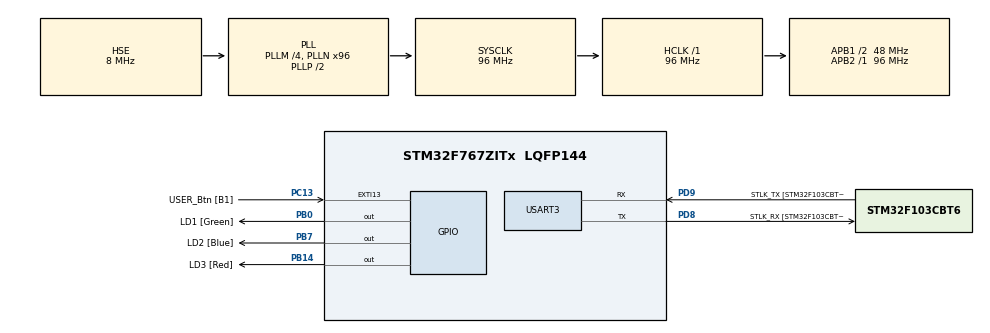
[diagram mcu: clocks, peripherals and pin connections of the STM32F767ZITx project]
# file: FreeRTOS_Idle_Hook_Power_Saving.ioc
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Mcu.Family=STM32F7
Mcu.Name=STM32F767ZITx
Mcu.Package=LQFP144
NVIC.PriorityGroup=NVIC_PRIORITYGROUP_4
NVIC.TIM5_IRQn=true\:15\:0\:false\:false\:true\:false\:true\:true
NVIC.TimeBase=TIM5_IRQn
NVIC.TimeBaseIP=TIM5
PA13.GPIO_Label=TMS
PA13.Mode=Serial_Wire
PA13.Signal=SYS_JTMS-SWDIO
PA14.GPIO_Label=TCK
PA14.Mode=Serial_Wire
PA14.Signal=SYS_JTCK-SWCLK
PB0.GPIO_Label=LD1 [Green]
PB0.Signal=GPIO_Output
PB14.GPIO_Label=LD3 [Red]
PB14.Signal=GPIO_Output
PB7.GPIO_Label=LD2 [Blue]
PB7.Signal=GPIO_Output
PC13.GPIO_Label=USER_Btn [B1]
PC13.Signal=GPXTI13
PC14/OSC32_IN.Mode=LSE-External-Oscillator
PC14/OSC32_IN.Signal=RCC_OSC32_IN
PC15/OSC32_OUT.Mode=LSE-External-Oscillator
PC15/OSC32_OUT.Signal=RCC_OSC32_OUT
PD8.GPIO_Label=STLK_RX [STM32F103CBT6_PA3]
PD8.Mode=Asynchronous
PD8.Signal=USART3_TX
PD9.GPIO_Label=STLK_TX [STM32F103CBT6_PA2]
PD9.Mode=Asynchronous
PD9.Signal=USART3_RX
PH0/OSC_IN.GPIO_Label=MCO [STM32F103CBT6_PA8]
PH0/OSC_IN.Mode=HSE-External-Clock-Source
PH0/OSC_IN.Signal=RCC_OSC_IN
PH1/OSC_OUT.Mode=HSE-External-Clock-Source
PH1/OSC_OUT.Signal=RCC_OSC_OUT
ProjectManager.HeapSize=0x200
ProjectManager.StackSize=0x400
ProjectManager.TargetToolchain=STM32CubeIDE
RCC.48MHZClocksFreq_Value=24000000
RCC.AHBFreq_Value=96000000
RCC.APB1CLKDivider=RCC_HCLK_DIV2
RCC.APB1Freq_Value=48000000
RCC.APB1TimFreq_Value=96000000
RCC.APB2Freq_Value=96000000
RCC.APB2TimFreq_Value=96000000
RCC.CortexFreq_Value=96000000
RCC.HCLKFreq_Value=96000000
RCC.HSE_VALUE=8000000
RCC.HSI_VALUE=16000000
RCC.PLLM=4
RCC.PLLMUL=RCC_PLL_MUL9
RCC.PLLN=96
RCC.PLLQ=4
RCC.PLLSourceVirtual=RCC_PLLSOURCE_HSE
RCC.PRESCALERUSB=RCC_USBCLKSOURCE_PLL_DIV1_5
RCC.SYSCLKFreq_VALUE=96000000
RCC.SYSCLKSource=RCC_SYSCLKSOURCE_PLLCLK
RCC.SYSCLKSourceVirtual=RCC_SYSCLKSOURCE_PLLCLK
RCC.USBFreq_Value=48000000
RCC.VCOOutputFreq_Value=192000000
USART3.VirtualMode-Asynchronous=VM_ASYNC
VP_SYS_VS_tim5.Mode=TIM5
board=NUCLEO-F767ZI

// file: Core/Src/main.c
/* USER CODE BEGIN Header */
/**
 ******************************************************************************
 * @file           : main.c
 * @brief          : Main program body
 ******************************************************************************
 * @attention
 *
 * Copyright (c) 2024 STMicroelectronics.
 * All rights reserved.
 *
 * This software is licensed under terms that can be found in the LICENSE file
 * in the root directory of this software component.
 * If no LICENSE file comes with this software, it is provided AS-IS.
 *
 ******************************************************************************
 */
/* USER CODE END Header */
#include "main.h"

/* USER CODE BEGIN Includes */
#include "FreeRTOS.h"
#include "task.h"
/* USER CODE END Includes */

UART_HandleTypeDef huart3;

/* USER CODE BEGIN PV */
#define DWT_CTRL		(*(volatile uint32_t*)0xE0001000)
/* USER CODE END PV */

void SystemClock_Config(void);
static void MX_GPIO_Init(void);
static void MX_USART3_UART_Init(void);
/* USER CODE BEGIN PFP */
static void led_green_handler(void* parameters);
static void led_blue_handler(void* parameters);
static void led_red_handler(void* parameters);
/* USER CODE END PFP */

int main(void)
{

	/* USER CODE BEGIN 1 */
	TaskHandle_t task1_handle;
	TaskHandle_t task2_handle;
	TaskHandle_t task3_handle;

	BaseType_t status;
	/* USER CODE END 1 */

	/* MCU Configuration--------------------------------------------------------*/

	/* Reset of all peripherals, Initializes the Flash interface and the Systick. */
	HAL_Init();

	/* Configure the system clock */
	SystemClock_Config();

	/* Initialize all configured peripherals */
	MX_GPIO_Init();
	MX_USART3_UART_Init();
	/* USER CODE BEGIN 2 */

	DWT_CTRL |= (1 << 0);
	SEGGER_SYSVIEW_Conf();

	status = xTaskCreate(led_green_handler, "LED_green_task", 200, NULL, 2, &task1_handle);
	configASSERT(status == pdPASS);
	status = xTaskCreate(led_blue_handler, "LED_blue_task", 200, NULL, 2, &task2_handle);
	configASSERT(status == pdPASS);
	status = xTaskCreate(led_red_handler, "LED_red_task", 200, NULL, 2, &task3_handle);
	configASSERT(status == pdPASS);

	vTaskStartScheduler();

	/* USER CODE END 2 */

	/* Infinite loop */
	while (1)
	{

	}
}

void SystemClock_Config(void)
{
	RCC_OscInitTypeDef RCC_OscInitStruct = {0};
	RCC_ClkInitTypeDef RCC_ClkInitStruct = {0};

	/** Configure LSE Drive Capability
	 */
	HAL_PWR_EnableBkUpAccess();

	/** Configure the main internal regulator output voltage
	 */
	__HAL_RCC_PWR_CLK_ENABLE();
	__HAL_PWR_VOLTAGESCALING_CONFIG(PWR_REGULATOR_VOLTAGE_SCALE3);

	/** Initializes the RCC Oscillators according to the specified parameters
	 * in the RCC_OscInitTypeDef structure.
	 */
	RCC_OscInitStruct.OscillatorType = RCC_OSCILLATORTYPE_HSE;
	RCC_OscInitStruct.HSEState = RCC_HSE_BYPASS;
	RCC_OscInitStruct.PLL.PLLState = RCC_PLL_ON;
	RCC_OscInitStruct.PLL.PLLSource = RCC_PLLSOURCE_HSE;
	RCC_OscInitStruct.PLL.PLLM = 4;
	RCC_OscInitStruct.PLL.PLLN = 96;
	RCC_OscInitStruct.PLL.PLLP = RCC_PLLP_DIV2;
	RCC_OscInitStruct.PLL.PLLQ = 4;
	RCC_OscInitStruct.PLL.PLLR = 2;
	if (HAL_RCC_OscConfig(&RCC_OscInitStruct) != HAL_OK)
	{
		Error_Handler();
	}

	/** Activate the Over-Drive mode
	 */
	if (HAL_PWREx_EnableOverDrive() != HAL_OK)
	{
		Error_Handler();
	}

	/** Initializes the CPU, AHB and APB buses clocks
	 */
	RCC_ClkInitStruct.ClockType = RCC_CLOCKTYPE_HCLK|RCC_CLOCKTYPE_SYSCLK
			|RCC_CLOCKTYPE_PCLK1|RCC_CLOCKTYPE_PCLK2;
	RCC_ClkInitStruct.SYSCLKSource = RCC_SYSCLKSOURCE_PLLCLK;
	RCC_ClkInitStruct.AHBCLKDivider = RCC_SYSCLK_DIV1;
	RCC_ClkInitStruct.APB1CLKDivider = RCC_HCLK_DIV2;
	RCC_ClkInitStruct.APB2CLKDivider = RCC_HCLK_DIV1;

	if (HAL_RCC_ClockConfig(&RCC_ClkInitStruct, FLASH_LATENCY_3) != HAL_OK)
	{
		Error_Handler();
	}
}

static void MX_USART3_UART_Init(void)
{

	huart3.Instance = USART3;
	huart3.Init.BaudRate = 115200;
	huart3.Init.WordLength = UART_WORDLENGTH_8B;
	huart3.Init.StopBits = UART_STOPBITS_1;
	huart3.Init.Parity = UART_PARITY_NONE;
	huart3.Init.Mode = UART_MODE_TX_RX;
	huart3.Init.HwFlowCtl = UART_HWCONTROL_NONE;
	huart3.Init.OverSampling = UART_OVERSAMPLING_16;
	huart3.Init.OneBitSampling = UART_ONE_BIT_SAMPLE_DISABLE;
	huart3.AdvancedInit.AdvFeatureInit = UART_ADVFEATURE_NO_INIT;
	if (HAL_UART_Init(&huart3) != HAL_OK)
	{
		Error_Handler();
	}

}

static void MX_GPIO_Init(void)
{
	GPIO_InitTypeDef GPIO_InitStruct = {0};

	/* GPIO Ports Clock Enable */
	__HAL_RCC_GPIOC_CLK_ENABLE();
	__HAL_RCC_GPIOH_CLK_ENABLE();
	__HAL_RCC_GPIOB_CLK_ENABLE();
	__HAL_RCC_GPIOD_CLK_ENABLE();
	__HAL_RCC_GPIOA_CLK_ENABLE();

	/*Configure GPIO pin Output Level */
	HAL_GPIO_WritePin(GPIOB, LD1_Pin|LD3_Pin|LD2_Pin, GPIO_PIN_RESET);

	/*Configure GPIO pin : USER_Btn_Pin */
	GPIO_InitStruct.Pin = USER_Btn_Pin;
	GPIO_InitStruct.Mode = GPIO_MODE_IT_RISING;
	GPIO_InitStruct.Pull = GPIO_NOPULL;
	HAL_GPIO_Init(USER_Btn_GPIO_Port, &GPIO_InitStruct);

	/*Configure GPIO pins : LD1_Pin LD3_Pin LD2_Pin */
	GPIO_InitStruct.Pin = LD1_Pin|LD3_Pin|LD2_Pin;
	GPIO_InitStruct.Mode = GPIO_MODE_OUTPUT_PP;
	GPIO_InitStruct.Pull = GPIO_NOPULL;
	GPIO_InitStruct.Speed = GPIO_SPEED_FREQ_LOW;
	HAL_GPIO_Init(GPIOB, &GPIO_InitStruct);

}

/* USER CODE BEGIN 4 */
static void led_green_handler(void* parameters)
{
	while(1)
	{
		HAL_GPIO_TogglePin(GPIOB, GPIO_PIN_0);
		vTaskDelay(pdMS_TO_TICKS(1000));
	}
}

static void led_blue_handler(void* parameters)
{
	while(1)
	{
		HAL_GPIO_TogglePin(GPIOB, GPIO_PIN_7);
		vTaskDelay(pdMS_TO_TICKS(800));
	}
}

static void led_red_handler(void* parameters)
{
	while(1)
	{
		HAL_GPIO_TogglePin(GPIOB, GPIO_PIN_14);
		vTaskDelay(pdMS_TO_TICKS(400));
	}
}

void vApplicationIdleHook(void)
{
	HAL_PWR_EnterSLEEPMode(PWR_MAINREGULATOR_ON, PWR_SLEEPENTRY_WFI);
}
/* USER CODE END 4 */

void HAL_TIM_PeriodElapsedCallback(TIM_HandleTypeDef *htim)
{
	if (htim->Instance == TIM5) {
		HAL_IncTick();
	}
}

void Error_Handler(void)
{
	__disable_irq();
	while (1)
	{
	}
}
